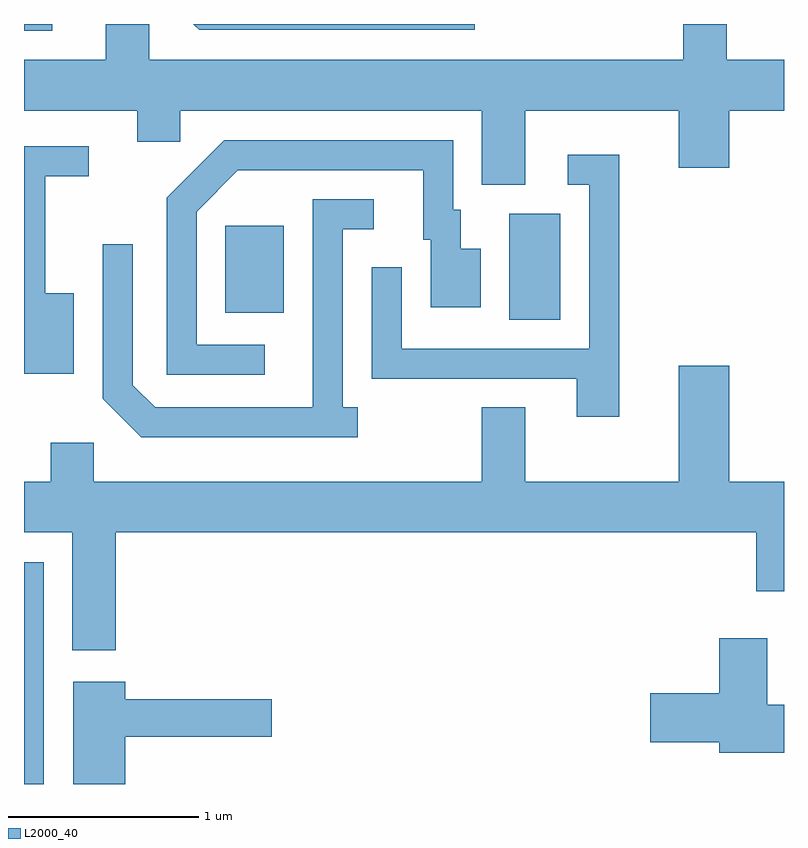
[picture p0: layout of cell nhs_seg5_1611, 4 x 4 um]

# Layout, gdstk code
import gdstk
lib = gdstk.Library(unit=1e-6, precision=1e-09)
def R(c, l, rs):  # rectangles x0, y0, x1, y1
    for r in rs: c.add(gdstk.rectangle(r[:2], r[2:], *l))
def P(c, l, *ps):  # polygons
    for p in ps: c.add(gdstk.Polygon(p, *l))
L2000_40 = (2000, 40)

nhs_seg5_1611 = lib.new_cell('nhs_seg5_1611')
R(nhs_seg5_1611, L2000_40, [(231.611,1522.072,231.714,1523.239), (234.166,1524.516,234.434,1525.074), (232.671,1524.551,232.979,1525.009), (231.611,1526.036,231.759,1526.072)])
P(nhs_seg5_1611, L2000_40, [(234.249,1525.616),(235.056,1525.616),(235.056,1525.316),(235.324,1525.316),(235.324,1525.616),(235.611,1525.616),(235.611,1525.884),(235.309,1525.884),(235.309,1526.072),(235.081,1526.072),(235.081,1525.884),(232.269,1525.884),(232.269,1526.072),(232.041,1526.072),(232.041,1525.884),(231.611,1525.884),(231.611,1525.616),(232.206,1525.616),(232.206,1525.451),(232.434,1525.451),(232.434,1525.616),(234.021,1525.616),(234.021,1525.226),(234.249,1525.226)],
  [(233.984,1526.072),(232.503,1526.072),(232.534,1526.041),(233.984,1526.041)],
  [(232.878,1524.384),(232.519,1524.384),(232.519,1525.084),(232.737,1525.301),(233.711,1525.301),(233.711,1524.936),(233.751,1524.936),(233.751,1524.581),(234.014,1524.581),(234.014,1524.889),(233.909,1524.889),(233.909,1525.094),(233.869,1525.094),(233.869,1525.459),(232.664,1525.459),(232.361,1525.157),(232.361,1524.226),(232.878,1524.226)],
  [(231.874,1524.654),(231.724,1524.654),(231.724,1525.271),(231.953,1525.271),(231.953,1525.429),(231.611,1525.429),(231.611,1524.231),(231.874,1524.231)],
  [(234.744,1525.384),(234.473,1525.384),(234.473,1525.226),(234.586,1525.226),(234.586,1524.364),(233.599,1524.364),(233.599,1524.793),(233.441,1524.793),(233.441,1524.206),(234.521,1524.206),(234.521,1524.006),(234.744,1524.006)],
  [(233.368,1524.054),(233.289,1524.054),(233.289,1524.991),(233.453,1524.991),(233.453,1525.149),(233.131,1525.149),(233.131,1524.054),(232.302,1524.054),(232.184,1524.172),(232.184,1524.913),(232.026,1524.913),(232.026,1524.099),(232.229,1523.896),(233.368,1523.896)],
  [(232.094,1523.396),(235.466,1523.396),(235.466,1523.086),(235.611,1523.086),(235.611,1523.664),(235.324,1523.664),(235.324,1524.274),(235.056,1524.274),(235.056,1523.664),(234.249,1523.664),(234.249,1524.054),(234.021,1524.054),(234.021,1523.664),(231.979,1523.664),(231.979,1523.869),(231.751,1523.869),(231.751,1523.664),(231.611,1523.664),(231.611,1523.396),(231.866,1523.396),(231.866,1522.776),(232.094,1522.776)],
  [(235.611,1522.489),(235.524,1522.489),(235.524,1522.839),(235.271,1522.839),(235.271,1522.549),(234.906,1522.549),(234.906,1522.291),(235.271,1522.291),(235.271,1522.236),(235.611,1522.236)],
  [(232.144,1522.321),(232.914,1522.321),(232.914,1522.519),(232.144,1522.519),(232.144,1522.609),(231.871,1522.609),(231.871,1522.072),(232.144,1522.072)])

lib.write_gds('nhs_seg5_1611.gds')
